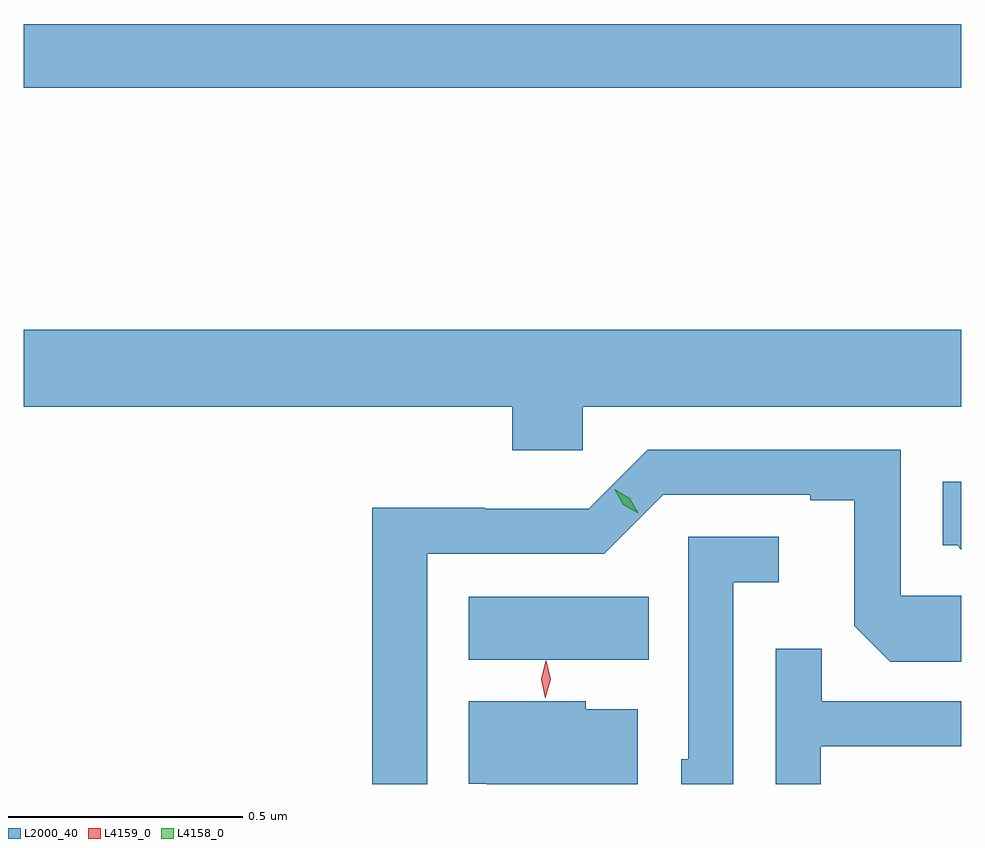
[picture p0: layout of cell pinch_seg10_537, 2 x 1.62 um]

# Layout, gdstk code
import gdstk
lib = gdstk.Library(unit=1e-6, precision=1e-09)
def R(c, l, rs):  # rectangles x0, y0, x1, y1
    for r in rs: c.add(gdstk.rectangle(r[:2], r[2:], *l))
def P(c, l, *ps):  # polygons
    for p in ps: c.add(gdstk.Polygon(p, *l))
L2000_40 = (2000, 40)
L4158_0 = (4158, 0)
L4159_0 = (4159, 0)

pinch_seg10_537 = lib.new_cell('pinch_seg10_537')
R(pinch_seg10_537, L2000_40, [(256.586,1306.436,256.97,1306.57), (255.637,1307.656,257.637,1307.792)])
P(pinch_seg10_537, L2000_40, [(256.83,1306.976),(257.637,1306.976),(257.637,1307.14),(255.637,1307.14),(255.637,1306.976),(256.679,1306.976),(256.679,1306.883),(256.83,1306.883)],
  [(256.498,1306.662),(256.875,1306.662),(257.001,1306.788),(257.315,1306.788),(257.315,1306.776),(257.409,1306.776),(257.409,1306.508),(257.485,1306.432),(257.637,1306.432),(257.637,1306.572),(257.508,1306.572),(257.508,1306.884),(256.968,1306.884),(256.842,1306.758),(256.62,1306.758),(256.62,1306.76),(256.38,1306.76),(256.38,1306.171),(256.498,1306.171)],
  [(257.637,1306.816),(257.597,1306.816),(257.597,1306.68),(257.628,1306.68),(257.637,1306.671)],
  [(257.151,1306.601),(257.248,1306.601),(257.248,1306.698),(257.055,1306.698),(257.055,1306.224),(257.04,1306.224),(257.04,1306.171),(257.151,1306.171)],
  [(257.337,1306.251),(257.637,1306.251),(257.637,1306.347),(257.339,1306.347),(257.339,1306.46),(257.241,1306.46),(257.241,1306.171),(257.337,1306.171)],
  [(256.947,1306.33),(256.836,1306.33),(256.836,1306.348),(256.586,1306.348),(256.586,1306.172),(256.625,1306.172),(256.625,1306.171),(256.947,1306.171)])
P(pinch_seg10_537, L4158_0, [(256.948,1306.749),(256.916,1306.767),(256.898,1306.799),(256.898,1306.8),(256.898,1306.8),(256.93,1306.781),(256.948,1306.749),(256.948,1306.749)])
P(pinch_seg10_537, L4159_0, [(256.75,1306.354),(256.75,1306.354),(256.741,1306.394),(256.751,1306.434),(256.751,1306.434),(256.752,1306.434),(256.761,1306.394),(256.75,1306.354)])

lib.write_gds('pinch_seg10_537.gds')
